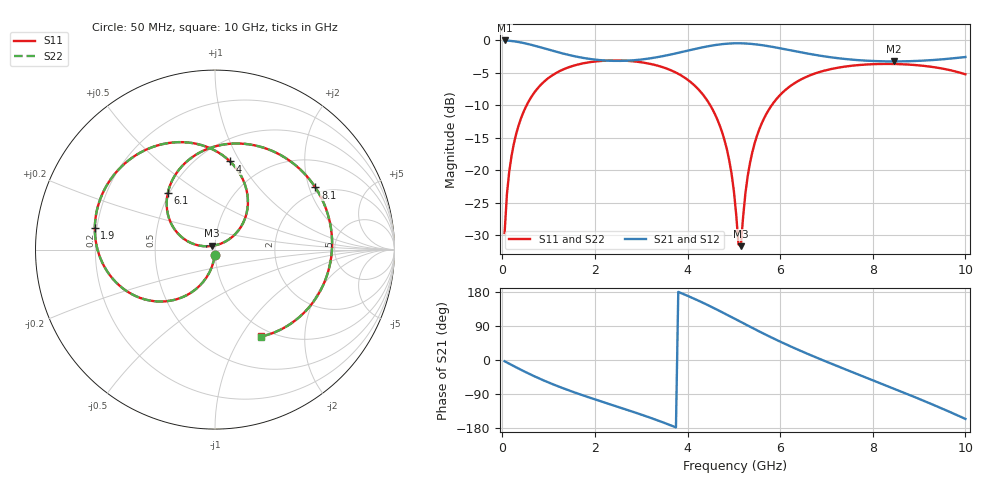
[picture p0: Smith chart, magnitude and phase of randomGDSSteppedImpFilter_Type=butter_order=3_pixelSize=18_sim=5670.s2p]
! freq	dB(S11)	phase(S11)	dB(S12)	phase(S12)
!  dB(S21)	phase(S21)	dB(S22)	phase(S22)
!S-par simulation data
#  GHz  S  DB  R 50
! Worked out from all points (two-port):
!   200 points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, 50 MHz to 10 GHz, reference 50 ohm
!   highest |S21| = -0.01 dB at 50 MHz (marker M1); lowest = -3.2 dB at 8.45 GHz (marker M2)
!   |S21| within 3 dB of the highest: start of sweep to 2.068 GHz; 2.917 GHz to 7.625 GHz (4.708 GHz wide, 89.3 % of centre) (the widest 2 of 3)
!   lowest |S11| = -31.7 dB at 5.15 GHz (marker M3), VSWR 1.05, Z = 48.5 + j2.04 ohm
!   |S11| at or under -10 dB: start of sweep to 525.6 MHz; 4.49 GHz to 5.818 GHz (1.328 GHz wide, 25.8 % of centre)
!   |S22| runs from -31.7 to -3.1 dB; largest |S21 - S12| = 0
!   S11 on the Smith chart (normalised r, x): 50 MHz: 0.99, -0.07; 1.9 GHz: 0.19, +0.09; 4 GHz: 0.69, +0.91; 6.1 GHz: 0.49, +0.37; 8.1 GHz: 1.80, +2.20; 10 GHz: 0.89, -1.23
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0.05  -29.67 -93.4  -0.01 -3.3  -0.01 -3.3  -29.67 -93.4
0.2  -17.77 -103.6  -0.09 -13.0  -0.09 -13.0  -17.77 -103.6
0.5  -10.36 -122.3  -0.46 -31.7  -0.46 -31.7  -10.36 -122.3
1.05  -5.52 -152.5  -1.52 -61.9  -1.52 -61.9  -5.52 -152.4
1.75  -3.53 175.9  -2.70 -93.6  -2.70 -93.6  -3.53 175.9
1.9  -3.34 169.7  -2.87 -99.8  -2.87 -99.8  -3.34 169.7
3.4  -3.98 108.7  -2.51 -161.4  -2.51 -161.4  -3.98 108.8
4  -6.05 80.3  -1.58 169.4  -1.58 169.4  -6.05 80.4
4.7  -13.19 43.7  -0.61 129.0  -0.61 129.0  -13.19 43.8
4.9  -18.45 36.3  -0.48 116.4  -0.48 116.4  -18.45 36.4
5.05  -26.77 45.7  -0.44 106.9  -0.44 106.9  -26.76 45.8
5.15  -31.70 126.1  -0.45 100.5  -0.45 100.5  -31.66 126.0
5.3  -20.88 165.7  -0.49 90.9  -0.49 90.9  -20.87 165.7
5.45  -15.83 162.9  -0.59 81.5  -0.59 81.5  -15.83 162.9
6.1  -7.72 129.7  -1.35 42.8  -1.35 42.8  -7.72 129.8
6.7  -5.23 98.8  -2.16 10.7  -2.16 10.7  -5.23 98.8
7.35  -4.09 67.2  -2.82 -21.8  -2.82 -21.8  -4.09 67.2
8.1  -3.64 31.8  -3.20 -58.2  -3.20 -58.2  -3.64 31.8
8.35  -3.62 20.0  -3.23 -70.3  -3.23 -70.3  -3.62 20.0
8.45  -3.63 15.2  -3.24 -75.2  -3.24 -75.2  -3.63 15.2
9.25  -4.05 -23.5  -3.05 -115.3  -3.05 -115.3  -4.05 -23.5
10  -5.22 -62.0  -2.56 -155.5  -2.56 -155.5  -5.22 -62.1
